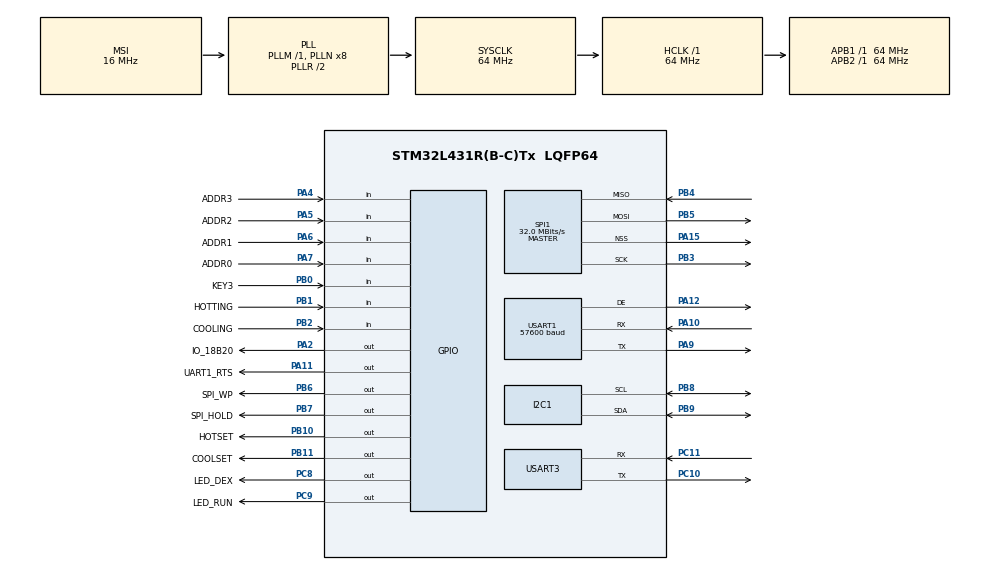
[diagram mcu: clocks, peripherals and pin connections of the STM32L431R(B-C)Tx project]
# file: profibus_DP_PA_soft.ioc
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Dma.Request0=USART1_RX
Dma.Request1=USART1_TX
Dma.USART1_RX.0.Direction=DMA_PERIPH_TO_MEMORY
Dma.USART1_RX.0.Instance=DMA1_Channel5
Dma.USART1_RX.0.MemDataAlignment=DMA_MDATAALIGN_BYTE
Dma.USART1_RX.0.MemInc=DMA_MINC_ENABLE
Dma.USART1_RX.0.Mode=DMA_NORMAL
Dma.USART1_RX.0.PeriphDataAlignment=DMA_PDATAALIGN_BYTE
Dma.USART1_RX.0.PeriphInc=DMA_PINC_DISABLE
Dma.USART1_RX.0.Priority=DMA_PRIORITY_LOW
Dma.USART1_TX.1.Direction=DMA_MEMORY_TO_PERIPH
Dma.USART1_TX.1.Instance=DMA1_Channel4
Dma.USART1_TX.1.MemDataAlignment=DMA_MDATAALIGN_BYTE
Dma.USART1_TX.1.MemInc=DMA_MINC_ENABLE
Dma.USART1_TX.1.Mode=DMA_NORMAL
Dma.USART1_TX.1.PeriphDataAlignment=DMA_PDATAALIGN_BYTE
Dma.USART1_TX.1.PeriphInc=DMA_PINC_DISABLE
Dma.USART1_TX.1.Priority=DMA_PRIORITY_LOW
I2C1.Timing=0x10707DBC
Mcu.Family=STM32L4
Mcu.Name=STM32L431R(B-C)Tx
Mcu.Package=LQFP64
NVIC.DMA1_Channel4_IRQn=true\:0\:0\:false\:false\:true\:false\:true\:true
NVIC.DMA1_Channel5_IRQn=true\:0\:0\:false\:false\:true\:false\:true\:true
NVIC.PriorityGroup=NVIC_PRIORITYGROUP_4
NVIC.USART1_IRQn=true\:0\:0\:false\:false\:true\:true\:true\:true
PA10.Mode=Asynchronous
PA10.Signal=USART1_RX
PA11.GPIO_Label=UART1_RTS
PA11.Signal=GPIO_Output
PA12.Mode=Hardware Flow Control (RS485)
PA12.Signal=USART1_DE
PA13\ (JTMS-SWDIO).Mode=Serial_Wire
PA13\ (JTMS-SWDIO).Signal=SYS_JTMS-SWDIO
PA14\ (JTCK-SWCLK).Mode=Serial_Wire
PA14\ (JTCK-SWCLK).Signal=SYS_JTCK-SWCLK
PA15\ (JTDI).Mode=NSS_Signal_Hard_Output
PA15\ (JTDI).Signal=SPI1_NSS
PA2.GPIO_Label=IO_18B20
PA2.Signal=GPIO_Output
PA4.GPIO_Label=ADDR3
PA4.Signal=GPIO_Input
PA5.GPIO_Label=ADDR2
PA5.Signal=GPIO_Input
PA6.GPIO_Label=ADDR1
PA6.Signal=GPIO_Input
PA7.GPIO_Label=ADDR0
PA7.Signal=GPIO_Input
PA9.Mode=Asynchronous
PA9.Signal=USART1_TX
PB0.GPIO_Label=KEY3
PB0.Signal=GPIO_Input
PB1.GPIO_Label=HOTTING
PB1.Signal=GPIO_Input
PB10.GPIO_Label=HOTSET
PB10.Signal=GPIO_Output
PB11.GPIO_Label=COOLSET
PB11.Signal=GPIO_Output
PB2.GPIO_Label=COOLING
PB2.Signal=GPIO_Input
PB3\ (JTDO-TRACESWO).Mode=Full_Duplex_Master
PB3\ (JTDO-TRACESWO).Signal=SPI1_SCK
PB4\ (NJTRST).Mode=Full_Duplex_Master
PB4\ (NJTRST).Signal=SPI1_MISO
PB5.Mode=Full_Duplex_Master
PB5.Signal=SPI1_MOSI
PB6.GPIO_Label=SPI_WP
PB6.Signal=GPIO_Output
PB7.GPIO_Label=SPI_HOLD
PB7.Signal=GPIO_Output
PB8.Mode=I2C
PB8.Signal=I2C1_SCL
PB9.Mode=I2C
PB9.Signal=I2C1_SDA
PC10.Mode=Asynchronous
PC10.Signal=USART3_TX
PC11.Mode=Asynchronous
PC11.Signal=USART3_RX
PC8.GPIO_Label=LED_DEX
PC8.Signal=GPIO_Output
PC9.GPIO_Label=LED_RUN
PC9.Signal=GPIO_Output
ProjectManager.HeapSize=0x200
ProjectManager.StackSize=0x400
ProjectManager.TargetToolchain=STM32CubeIDE
RCC.ADCFreq_Value=64000000
RCC.AHBFreq_Value=64000000
RCC.APB1Freq_Value=64000000
RCC.APB1TimFreq_Value=64000000
RCC.APB2Freq_Value=64000000
RCC.APB2TimFreq_Value=64000000
RCC.CortexFreq_Value=64000000
RCC.HCLKFreq_Value=64000000
RCC.HSE_VALUE=8000000
RCC.HSI48_VALUE=48000000
RCC.HSI_VALUE=16000000
RCC.LSE_VALUE=32768
RCC.MSIClockRange=RCC_MSIRANGE_8
RCC.MSI_VALUE=16000000
RCC.SYSCLKFreq_VALUE=64000000
RCC.SYSCLKSource=RCC_SYSCLKSOURCE_PLLCLK
RCC.VCOOutputFreq_Value=128000000
SPI1.CalculateBaudRate=32.0 MBits/s
SPI1.Direction=SPI_DIRECTION_2LINES
SPI1.Mode=SPI_MODE_MASTER
SPI1.VirtualNSS=VM_NSSHARD
SPI1.VirtualType=VM_MASTER
USART1.BaudRate=57600
USART1.Parity=PARITY_NONE
USART1.VirtualMode-Asynchronous=VM_ASYNC
USART1.VirtualMode-Hardware\ Flow\ Control\ (RS485)=VM_ASYNC
USART1.WordLength=WORDLENGTH_8B
USART3.VirtualMode-Asynchronous=VM_ASYNC
VP_TIM1_VS_ClockSourceINT.Mode=Internal
VP_TIM2_VS_ClockSourceINT.Mode=Internal
board=custom

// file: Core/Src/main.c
/* USER CODE BEGIN Header */
/**
  ******************************************************************************
  * @file           : main.c
  * @brief          : Main program body
  ******************************************************************************
  * @attention
  *
  * <h2><center>&copy; Copyright (c) 2021 STMicroelectronics.
  * All rights reserved.</center></h2>
  *
  * This software component is licensed by ST under BSD 3-Clause license,
  * the "License"; You may not use this file except in compliance with the
  * License. You may obtain a copy of the License at:
  *                        opensource.org/licenses/BSD-3-Clause
  *
  ******************************************************************************
  */
/* USER CODE END Header */
#include "main.h"

/* USER CODE BEGIN Includes */
#include "stm32l4xx_ll_usart.h"
#include "dp_App.h"
/* USER CODE END Includes */

SPI_HandleTypeDef hspi1;

UART_HandleTypeDef huart1;
UART_HandleTypeDef huart3;
DMA_HandleTypeDef hdma_usart1_rx;
DMA_HandleTypeDef hdma_usart1_tx;

void SystemClock_Config(void);
static void MX_GPIO_Init(void);
static void MX_DMA_Init(void);
static void MX_USART1_UART_Init(void);
static void MX_TIM1_Init(void);
static void MX_I2C1_Init(void);
static void MX_TIM2_Init(void);
static void MX_SPI1_Init(void);
static void MX_USART3_UART_Init(void);

int main(void)
{

  /* MCU Configuration--------------------------------------------------------*/

  /* Reset of all peripherals, Initializes the Flash interface and the Systick. */
  HAL_Init();

  /* USER CODE BEGIN Init */

  /* 使能 SPI1 时钟 */
//  RCC->APB2ENR |= RCC_APB2ENR_SPI1EN;

  /* USER CODE END Init */

  /* Configure the system clock */
  SystemClock_Config();

  /* Initialize all configured peripherals */
  MX_GPIO_Init();
  MX_DMA_Init();
  MX_USART1_UART_Init();
  MX_TIM1_Init();
  MX_I2C1_Init();
  MX_TIM2_Init();
  MX_SPI1_Init();
  MX_USART3_UART_Init();
  /* USER CODE BEGIN 2 */
#if TEST_TIMER
    void TEST_TIMER_(void);
    TEST_TIMER_();
#endif
#if TEST_DP_PORT
    void DP_PORT_TEST(void);
    DP_PORT_TEST();
#endif
#if TEST_DAC8740H
    void DAC8740H_test(void);
    DAC8740H_test();
#endif
#if PA_PROFILE_ENABLE
    pa_demo();
#else
    dp_demo();
#endif
  /* USER CODE END 2 */

  /* Infinite loop */
  while (1)
  {

  }
}

void SystemClock_Config(void)
{
  RCC_OscInitTypeDef RCC_OscInitStruct = {0};
  RCC_ClkInitTypeDef RCC_ClkInitStruct = {0};

  /** Configure the main internal regulator output voltage
  */
  if (HAL_PWREx_ControlVoltageScaling(PWR_REGULATOR_VOLTAGE_SCALE1) != HAL_OK)
  {
    Error_Handler();
  }

  /** Initializes the RCC Oscillators according to the specified parameters
  * in the RCC_OscInitTypeDef structure.
  */
  RCC_OscInitStruct.OscillatorType = RCC_OSCILLATORTYPE_MSI;
  RCC_OscInitStruct.MSIState = RCC_MSI_ON;
  RCC_OscInitStruct.MSICalibrationValue = 0;
  RCC_OscInitStruct.MSIClockRange = RCC_MSIRANGE_8;
  RCC_OscInitStruct.PLL.PLLState = RCC_PLL_ON;
  RCC_OscInitStruct.PLL.PLLSource = RCC_PLLSOURCE_MSI;
  RCC_OscInitStruct.PLL.PLLM = 1;
  RCC_OscInitStruct.PLL.PLLN = 8;
  RCC_OscInitStruct.PLL.PLLP = RCC_PLLP_DIV7;
  RCC_OscInitStruct.PLL.PLLQ = RCC_PLLQ_DIV2;
  RCC_OscInitStruct.PLL.PLLR = RCC_PLLR_DIV2;
  if (HAL_RCC_OscConfig(&RCC_OscInitStruct) != HAL_OK)
  {
    Error_Handler();
  }

  /** Initializes the CPU, AHB and APB buses clocks
  */
  RCC_ClkInitStruct.ClockType = RCC_CLOCKTYPE_HCLK|RCC_CLOCKTYPE_SYSCLK
                              |RCC_CLOCKTYPE_PCLK1|RCC_CLOCKTYPE_PCLK2;
  RCC_ClkInitStruct.SYSCLKSource = RCC_SYSCLKSOURCE_PLLCLK;
  RCC_ClkInitStruct.AHBCLKDivider = RCC_SYSCLK_DIV1;
  RCC_ClkInitStruct.APB1CLKDivider = RCC_HCLK_DIV1;
  RCC_ClkInitStruct.APB2CLKDivider = RCC_HCLK_DIV1;

  if (HAL_RCC_ClockConfig(&RCC_ClkInitStruct, FLASH_LATENCY_3) != HAL_OK)
  {
    Error_Handler();
  }
}

static void MX_I2C1_Init(void)
{

  LL_I2C_InitTypeDef I2C_InitStruct = {0};

  LL_GPIO_InitTypeDef GPIO_InitStruct = {0};
  RCC_PeriphCLKInitTypeDef PeriphClkInit = {0};

  /** Initializes the peripherals clock
  */
  PeriphClkInit.PeriphClockSelection = RCC_PERIPHCLK_I2C1;
  PeriphClkInit.I2c1ClockSelection = RCC_I2C1CLKSOURCE_PCLK1;
  if (HAL_RCCEx_PeriphCLKConfig(&PeriphClkInit) != HAL_OK)
  {
    Error_Handler();
  }

  LL_AHB2_GRP1_EnableClock(LL_AHB2_GRP1_PERIPH_GPIOB);
  /**I2C1 GPIO Configuration
  PB8   ------> I2C1_SCL
  PB9   ------> I2C1_SDA
  */
  GPIO_InitStruct.Pin = LL_GPIO_PIN_8|LL_GPIO_PIN_9;
  GPIO_InitStruct.Mode = LL_GPIO_MODE_ALTERNATE;
  GPIO_InitStruct.Speed = LL_GPIO_SPEED_FREQ_VERY_HIGH;
  GPIO_InitStruct.OutputType = LL_GPIO_OUTPUT_OPENDRAIN;
  GPIO_InitStruct.Pull = LL_GPIO_PULL_NO;
  GPIO_InitStruct.Alternate = LL_GPIO_AF_4;
  LL_GPIO_Init(GPIOB, &GPIO_InitStruct);

  /* Peripheral clock enable */
  LL_APB1_GRP1_EnableClock(LL_APB1_GRP1_PERIPH_I2C1);

  /** I2C Initialization
  */
  LL_I2C_EnableAutoEndMode(I2C1);
  LL_I2C_DisableOwnAddress2(I2C1);
  LL_I2C_DisableGeneralCall(I2C1);
  LL_I2C_EnableClockStretching(I2C1);
  I2C_InitStruct.PeripheralMode = LL_I2C_MODE_I2C;
  I2C_InitStruct.Timing = 0x10707DBC;
  I2C_InitStruct.AnalogFilter = LL_I2C_ANALOGFILTER_ENABLE;
  I2C_InitStruct.DigitalFilter = 0;
  I2C_InitStruct.OwnAddress1 = 0;
  I2C_InitStruct.TypeAcknowledge = LL_I2C_ACK;
  I2C_InitStruct.OwnAddrSize = LL_I2C_OWNADDRESS1_7BIT;
  LL_I2C_Init(I2C1, &I2C_InitStruct);
  LL_I2C_SetOwnAddress2(I2C1, 0, LL_I2C_OWNADDRESS2_NOMASK);

}

static void MX_SPI1_Init(void)
{

  /* USER CODE BEGIN SPI1_Init 0 */
	HAL_SPI_DeInit(&hspi1);   //SPI1 复位
  /* USER CODE END SPI1_Init 0 */

  /* SPI1 parameter configuration*/
  hspi1.Instance = SPI1;
  hspi1.Init.Mode = SPI_MODE_MASTER;
  hspi1.Init.Direction = SPI_DIRECTION_2LINES;
  hspi1.Init.DataSize = SPI_DATASIZE_4BIT;
  hspi1.Init.CLKPolarity = SPI_POLARITY_LOW;
  hspi1.Init.CLKPhase = SPI_PHASE_1EDGE;
  hspi1.Init.NSS = SPI_NSS_HARD_OUTPUT;
  hspi1.Init.BaudRatePrescaler = SPI_BAUDRATEPRESCALER_2;
  hspi1.Init.FirstBit = SPI_FIRSTBIT_MSB;
  hspi1.Init.TIMode = SPI_TIMODE_DISABLE;
  hspi1.Init.CRCCalculation = SPI_CRCCALCULATION_DISABLE;
  hspi1.Init.CRCPolynomial = 7;
  hspi1.Init.CRCLength = SPI_CRC_LENGTH_DATASIZE;
  hspi1.Init.NSSPMode = SPI_NSS_PULSE_ENABLE;
  if (HAL_SPI_Init(&hspi1) != HAL_OK)
  {
    Error_Handler();
  }

}

static void MX_TIM1_Init(void)
{

  LL_TIM_InitTypeDef TIM_InitStruct = {0};

  /* Peripheral clock enable */
  LL_APB2_GRP1_EnableClock(LL_APB2_GRP1_PERIPH_TIM1);

  TIM_InitStruct.Prescaler = 0;
  TIM_InitStruct.CounterMode = LL_TIM_COUNTERMODE_UP;
  TIM_InitStruct.Autoreload = 65535;
  TIM_InitStruct.ClockDivision = LL_TIM_CLOCKDIVISION_DIV1;
  TIM_InitStruct.RepetitionCounter = 0;
  LL_TIM_Init(TIM1, &TIM_InitStruct);
  LL_TIM_DisableARRPreload(TIM1);
  LL_TIM_SetClockSource(TIM1, LL_TIM_CLOCKSOURCE_INTERNAL);
  LL_TIM_SetTriggerOutput(TIM1, LL_TIM_TRGO_RESET);
  LL_TIM_SetTriggerOutput2(TIM1, LL_TIM_TRGO2_RESET);
  LL_TIM_DisableMasterSlaveMode(TIM1);

}

static void MX_TIM2_Init(void)
{

  LL_TIM_InitTypeDef TIM_InitStruct = {0};

  /* Peripheral clock enable */
  LL_APB1_GRP1_EnableClock(LL_APB1_GRP1_PERIPH_TIM2);

  TIM_InitStruct.Prescaler = 0;
  TIM_InitStruct.CounterMode = LL_TIM_COUNTERMODE_UP;
  TIM_InitStruct.Autoreload = 4294967295;
  TIM_InitStruct.ClockDivision = LL_TIM_CLOCKDIVISION_DIV1;
  LL_TIM_Init(TIM2, &TIM_InitStruct);
  LL_TIM_DisableARRPreload(TIM2);
  LL_TIM_SetClockSource(TIM2, LL_TIM_CLOCKSOURCE_INTERNAL);
  LL_TIM_SetTriggerOutput(TIM2, LL_TIM_TRGO_RESET);
  LL_TIM_DisableMasterSlaveMode(TIM2);

}

static void MX_USART1_UART_Init(void)
{

  huart1.Instance = USART1;
  huart1.Init.BaudRate = 57600;
  huart1.Init.WordLength = UART_WORDLENGTH_8B;
  huart1.Init.StopBits = UART_STOPBITS_1;
  huart1.Init.Parity = UART_PARITY_NONE;
  huart1.Init.Mode = UART_MODE_TX_RX;
  huart1.Init.HwFlowCtl = UART_HWCONTROL_NONE;
  huart1.Init.OverSampling = UART_OVERSAMPLING_16;
  huart1.Init.OneBitSampling = UART_ONE_BIT_SAMPLE_DISABLE;
  huart1.AdvancedInit.AdvFeatureInit = UART_ADVFEATURE_NO_INIT;
  if (HAL_RS485Ex_Init(&huart1, UART_DE_POLARITY_HIGH, 0, 0) != HAL_OK)
  {
    Error_Handler();
  }

}

static void MX_USART3_UART_Init(void)
{

  huart3.Instance = USART3;
  huart3.Init.BaudRate = 115200;
  huart3.Init.WordLength = UART_WORDLENGTH_8B;
  huart3.Init.StopBits = UART_STOPBITS_1;
  huart3.Init.Parity = UART_PARITY_NONE;
  huart3.Init.Mode = UART_MODE_TX_RX;
  huart3.Init.HwFlowCtl = UART_HWCONTROL_NONE;
  huart3.Init.OverSampling = UART_OVERSAMPLING_16;
  huart3.Init.OneBitSampling = UART_ONE_BIT_SAMPLE_DISABLE;
  huart3.AdvancedInit.AdvFeatureInit = UART_ADVFEATURE_NO_INIT;
  if (HAL_UART_Init(&huart3) != HAL_OK)
  {
    Error_Handler();
  }

}

static void MX_DMA_Init(void)
{

  /* DMA controller clock enable */
  __HAL_RCC_DMA1_CLK_ENABLE();

  /* DMA interrupt init */
  /* DMA1_Channel4_IRQn interrupt configuration */
  HAL_NVIC_SetPriority(DMA1_Channel4_IRQn, 0, 0);
  HAL_NVIC_EnableIRQ(DMA1_Channel4_IRQn);
  /* DMA1_Channel5_IRQn interrupt configuration */
  HAL_NVIC_SetPriority(DMA1_Channel5_IRQn, 0, 0);
  HAL_NVIC_EnableIRQ(DMA1_Channel5_IRQn);

}

static void MX_GPIO_Init(void)
{
  GPIO_InitTypeDef GPIO_InitStruct = {0};

  /* GPIO Ports Clock Enable */
  __HAL_RCC_GPIOC_CLK_ENABLE();
  __HAL_RCC_GPIOH_CLK_ENABLE();
  __HAL_RCC_GPIOA_CLK_ENABLE();
  __HAL_RCC_GPIOB_CLK_ENABLE();
  __HAL_RCC_GPIOD_CLK_ENABLE();

  /*Configure GPIO pin Output Level */
  HAL_GPIO_WritePin(GPIOA, IO_18B20_Pin|UART1_RTS_Pin, GPIO_PIN_RESET);

  /*Configure GPIO pin Output Level */
  HAL_GPIO_WritePin(GPIOB, HOTSET_Pin|COOLSET_Pin|SPI_WP_Pin|SPI_HOLD_Pin, GPIO_PIN_RESET);

  /*Configure GPIO pin Output Level */
  HAL_GPIO_WritePin(GPIOC, LED_DEX_Pin|LED_RUN_Pin, GPIO_PIN_RESET);

  /*Configure GPIO pins : PC13 PC14 PC15 PC0
                           PC1 PC2 PC3 PC4
                           PC5 PC6 PC7 PC12 */
  GPIO_InitStruct.Pin = GPIO_PIN_13|GPIO_PIN_14|GPIO_PIN_15|GPIO_PIN_0
                          |GPIO_PIN_1|GPIO_PIN_2|GPIO_PIN_3|GPIO_PIN_4
                          |GPIO_PIN_5|GPIO_PIN_6|GPIO_PIN_7|GPIO_PIN_12;
  GPIO_InitStruct.Mode = GPIO_MODE_ANALOG;
  GPIO_InitStruct.Pull = GPIO_NOPULL;
  HAL_GPIO_Init(GPIOC, &GPIO_InitStruct);

  /*Configure GPIO pins : PH0 PH1 PH3 */
  GPIO_InitStruct.Pin = GPIO_PIN_0|GPIO_PIN_1|GPIO_PIN_3;
  GPIO_InitStruct.Mode = GPIO_MODE_ANALOG;
  GPIO_InitStruct.Pull = GPIO_NOPULL;
  HAL_GPIO_Init(GPIOH, &GPIO_InitStruct);

  /*Configure GPIO pins : PA0 PA1 PA3 PA8 */
  GPIO_InitStruct.Pin = GPIO_PIN_0|GPIO_PIN_1|GPIO_PIN_3|GPIO_PIN_8;
  GPIO_InitStruct.Mode = GPIO_MODE_ANALOG;
  GPIO_InitStruct.Pull = GPIO_NOPULL;
  HAL_GPIO_Init(GPIOA, &GPIO_InitStruct);

  /*Configure GPIO pins : IO_18B20_Pin UART1_RTS_Pin */
  GPIO_InitStruct.Pin = IO_18B20_Pin|UART1_RTS_Pin;
  GPIO_InitStruct.Mode = GPIO_MODE_OUTPUT_PP;
  GPIO_InitStruct.Pull = GPIO_NOPULL;
  GPIO_InitStruct.Speed = GPIO_SPEED_FREQ_LOW;
  HAL_GPIO_Init(GPIOA, &GPIO_InitStruct);

  /*Configure GPIO pins : ADDR3_Pin ADDR2_Pin ADDR1_Pin ADDR0_Pin */
  GPIO_InitStruct.Pin = ADDR3_Pin|ADDR2_Pin|ADDR1_Pin|ADDR0_Pin;
  GPIO_InitStruct.Mode = GPIO_MODE_INPUT;
  GPIO_InitStruct.Pull = GPIO_NOPULL;
  HAL_GPIO_Init(GPIOA, &GPIO_InitStruct);

  /*Configure GPIO pins : KEY3_Pin HOTTING_Pin COOLING_Pin */
  GPIO_InitStruct.Pin = KEY3_Pin|HOTTING_Pin|COOLING_Pin;
  GPIO_InitStruct.Mode = GPIO_MODE_INPUT;
  GPIO_InitStruct.Pull = GPIO_NOPULL;
  HAL_GPIO_Init(GPIOB, &GPIO_InitStruct);

  /*Configure GPIO pins : HOTSET_Pin COOLSET_Pin SPI_WP_Pin SPI_HOLD_Pin */
  GPIO_InitStruct.Pin = HOTSET_Pin|COOLSET_Pin|SPI_WP_Pin|SPI_HOLD_Pin;
  GPIO_InitStruct.Mode = GPIO_MODE_OUTPUT_PP;
  GPIO_InitStruct.Pull = GPIO_NOPULL;
  GPIO_InitStruct.Speed = GPIO_SPEED_FREQ_LOW;
  HAL_GPIO_Init(GPIOB, &GPIO_InitStruct);

  /*Configure GPIO pins : PB12 PB13 PB14 PB15 */
  GPIO_InitStruct.Pin = GPIO_PIN_12|GPIO_PIN_13|GPIO_PIN_14|GPIO_PIN_15;
  GPIO_InitStruct.Mode = GPIO_MODE_ANALOG;
  GPIO_InitStruct.Pull = GPIO_NOPULL;
  HAL_GPIO_Init(GPIOB, &GPIO_InitStruct);

  /*Configure GPIO pins : LED_DEX_Pin LED_RUN_Pin */
  GPIO_InitStruct.Pin = LED_DEX_Pin|LED_RUN_Pin;
  GPIO_InitStruct.Mode = GPIO_MODE_OUTPUT_PP;
  GPIO_InitStruct.Pull = GPIO_NOPULL;
  GPIO_InitStruct.Speed = GPIO_SPEED_FREQ_LOW;
  HAL_GPIO_Init(GPIOC, &GPIO_InitStruct);

  /*Configure GPIO pin : PD2 */
  GPIO_InitStruct.Pin = GPIO_PIN_2;
  GPIO_InitStruct.Mode = GPIO_MODE_ANALOG;
  GPIO_InitStruct.Pull = GPIO_NOPULL;
  HAL_GPIO_Init(GPIOD, &GPIO_InitStruct);

}

void Error_Handler(void)
{
  __disable_irq();
  while (1)
  {
  }
}
